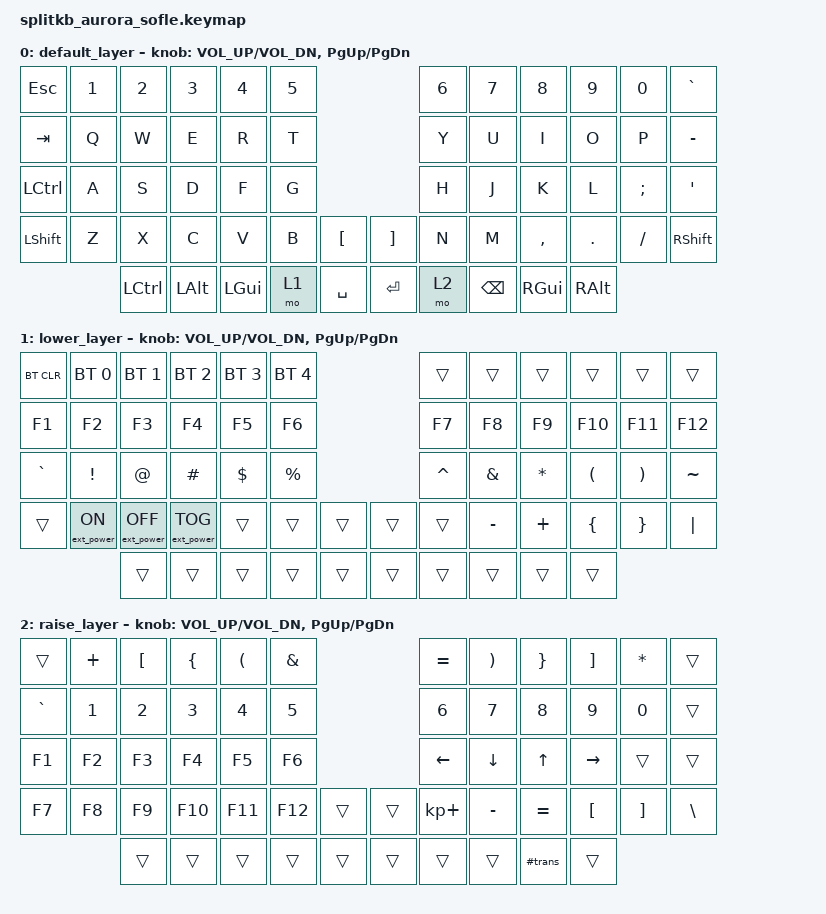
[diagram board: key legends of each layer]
/*
 * Copyright (c) 2023 The ZMK Contributors
 *
 * SPDX-License-Identifier: MIT
 */

#include <behaviors.dtsi>
#include <dt-bindings/zmk/keys.h>
#include <dt-bindings/zmk/bt.h>
#include <dt-bindings/zmk/ext_power.h>

/* Uncomment this block if using RGB
&led_strip {
    chain-length = <6>;
    // chain-length = <35>; // Uncomment if using both per-key and underglow LEDs
    // chain-length = <29>; // Uncomment if using only per-key LEDs.
};
 */

/ {
    behaviors {
        plusOne: plusOne {
            compatible = "zmk,behavior-mod-morph";
            #binding-cells= <0>;
            bindings = <&kp PLUS>, <&kp N1>;
            mods = <(MOD_LSFT|MOD_RSFT)>;
            keep-mods = <(MOD_RSFT)>;
        };
        leftBracketTwo: leftBracketTwo {
            compatible = "zmk,behavior-mod-morph";
            #binding-cells= <0>;
            bindings = <&kp LBKT>, <&kp N2>;
            mods = <(MOD_LSFT|MOD_RSFT)>;
            keep-mods = <(MOD_RSFT)>;
        };
        leftBraceThree: leftBraceThree {
            compatible = "zmk,behavior-mod-morph";
            #binding-cells= <0>;
            bindings = <&kp LBRC>, <&kp N3>;
            mods = <(MOD_LSFT|MOD_RSFT)>;
            keep-mods = <(MOD_RSFT)>;
        }; 
        leftParenFour: leftParenFour {
            compatible = "zmk,behavior-mod-morph";
            #binding-cells= <0>;
            bindings = <&kp LPAR>, <&kp N4>;
            mods = <(MOD_LSFT|MOD_RSFT)>;
            keep-mods = <(MOD_RSFT)>;
        };
        ampFive: ampFive {
            compatible = "zmk,behavior-mod-morph";
            #binding-cells= <0>;
            bindings = <&kp AMPS>, <&kp N5>;
            mods = <(MOD_LSFT|MOD_RSFT)>;
            keep-mods = <(MOD_RSFT)>;
        };
        equalSix: equalSix {
            compatible = "zmk,behavior-mod-morph";
            #binding-cells= <0>;
            bindings = <&kp EQUAL>, <&kp N6>;
            mods = <(MOD_LSFT|MOD_RSFT)>;
            keep-mods = <(MOD_RSFT)>;
        };
        rightParenSeven: rightParenSeven {
            compatible = "zmk,behavior-mod-morph";
            #binding-cells= <0>;
            bindings = <&kp RPAR>, <&kp N7>;
            mods = <(MOD_LSFT|MOD_RSFT)>;
            keep-mods = <(MOD_RSFT)>;
        };
        rightBraceEight: rightBraceEight {
            compatible = "zmk,behavior-mod-morph";
            #binding-cells= <0>;
            bindings = <&kp RBRC>, <&kp N8>;
            mods = <(MOD_LSFT|MOD_RSFT)>;
            keep-mods = <(MOD_RSFT)>;
        };
        rightBracketNine: rightBracketNine {
            compatible = "zmk,behavior-mod-morph";
            #binding-cells= <0>;
            bindings = <&kp RBKT>, <&kp N9>;
            mods = <(MOD_LSFT|MOD_RSFT)>;
            keep-mods = <(MOD_RSFT)>;
        };
        asteriskZero: asteriskZero {
            compatible = "zmk,behavior-mod-morph";
            #binding-cells= <0>;
            bindings = <&kp STAR>, <&kp N0>;
            mods = <(MOD_LSFT|MOD_RSFT)>;
            keep-mods = <(MOD_RSFT)>;
        };
    };
    keymap {
        compatible = "zmk,keymap";

        default_layer {
// ------------------------------------------------------------------------------------------------------------
// |  ESC  |  1  |  2  |  3   |  4   |  5   |                   |  6   |  7    |  8    |  9   |   0   |   `   |
// |  TAB  |  Q  |  W  |  E   |  R   |  T   |                   |  Y   |  U    |  I    |  O   |   P   |   -   |
// |  CTRL |  A  |  S  |  D   |  F   |  G   |                   |  H   |  J    |  K    |  L   |   ;   |   '   |
// | SHIFT |  Z  |  X  |  C   |  V   |  B   |   "["  |  |  "]"  |  N   |  M    |  ,    |  .   |   /   | SHIFT |
//               |CTRL | ALT  | GUI  | LOWER|  SPACE |  | ENTER | RAISE| BSPC  | GUI   | RALT |
            bindings = <
&kp ESC   &kp N1 &kp N2    &kp N3   &kp N4   &kp N5                     &kp N6 &kp N7   &kp N8    &kp N9   &kp N0   &kp GRAVE
&kp TAB   &kp Q  &kp W     &kp E    &kp R    &kp T                      &kp Y  &kp U    &kp I     &kp O    &kp P    &kp MINUS
&kp LCTRL &kp A  &kp S     &kp D    &kp F    &kp G                      &kp H  &kp J    &kp K     &kp L    &kp SEMI &kp SQT
&kp LSHFT &kp Z  &kp X     &kp C    &kp V    &kp B  &kp LBKT   &kp RBKT &kp N  &kp M    &kp COMMA &kp DOT  &kp FSLH &kp RSHFT
                 &kp LCTRL &kp LALT &kp LGUI &mo 1  &kp SPACE  &kp RET  &mo 2  &kp BSPC &kp RGUI  &kp RALT
            >;

            sensor-bindings = <&inc_dec_kp C_VOL_UP C_VOL_DN &inc_dec_kp PG_UP PG_DN>;
        };

        lower_layer {
// ------------------------------------------------------------------------------------------------------------
// | BTCLR | BT1 | BT2 |  BT3 |  BT4 |  BT5 |                   |      |       |       |      |       |       |
// |  F1   |  F2 |  F3 |  F4  |  F5  |  F6  |                   |  F7  |  F8   |  F9   |  F10 |  F11  |  F12  |
// |   `   |  !  |  @  |  #   |  $   |  %   |                   |  ^   |  &    |  *    |  (   |   )   |   ~   |
// |       |     |     |      |      |      |        |  |       |      |  _    |  +    |  {   |   }   |  "|"  |
//               |     |      |      |      |        |  |       |      |       |       |      |
            bindings = <
&bt BT_CLR &bt BT_SEL 0     &bt BT_SEL 1      &bt BT_SEL 2      &bt BT_SEL 3 &bt BT_SEL 4                 &trans    &trans    &trans    &trans    &trans    &trans
&kp F1     &kp F2           &kp F3            &kp F4            &kp F5       &kp F6                       &kp F7    &kp F8    &kp F9    &kp F10   &kp F11   &kp F12
&kp GRAVE  &kp EXCL         &kp AT            &kp HASH          &kp DOLLAR   &kp PRCNT                    &kp CARET &kp AMPS  &kp STAR  &kp LPAR  &kp RPAR  &kp TILDE
&trans     &ext_power EP_ON &ext_power EP_OFF &ext_power EP_TOG &trans       &trans    &trans   &trans    &trans    &kp MINUS &kp PLUS  &kp LBRC  &kp RBRC  &kp PIPE
                            &trans            &trans            &trans       &trans    &trans   &trans    &trans    &trans    &trans    &trans
            >;

            sensor-bindings = <&inc_dec_kp C_VOL_UP C_VOL_DN &inc_dec_kp PG_UP PG_DN>;
        };

        raise_layer {
// ------------------------------------------------------------------------------------------------------------
// |       |  +  |  [  |  {   |  (   |  &   |                   |  =   |   )   |   }   |  ]   |   *   |       |
// |   `   |  1  |  2  |  3   |  4   |  5   |                   |  6   |   7   |   8   |  9   |   0   |       |
// |   F1  |  F2 |  F3 |  F4  |  F5  |  F6  |                   |  <-  |   v   |   ^   |  ->  |       |       |
// |   F7  |  F8 |  F9 |  F10 |  F11 |  F12 |        |  |       |  +   |   -   |   =   |  [   |   ]   |   \   |
//               |     |      |      |      |        |  |       |      |       |       |      |
            bindings = <
&trans    &kp PLUS &kp LBKT &kp LBRC  &kp LPAR  &kp AMPS                     &kp EQUAL      &kp RPAR    &kp RBRC    &kp RBKT   &kp ASTRK    &trans
&kp GRAVE &kp N1   &kp N2   &kp N3    &kp N4    &kp N5                       &kp N6         &kp N7      &kp N8      &kp N9     &kp N0       &trans
&kp F1    &kp F2   &kp F3   &kp F4    &kp F5    &kp F6                       &kp LEFT       &kp DOWN    &kp UP      &kp RIGHT  &trans       &trans
&kp F7    &kp F8   &kp F9   &kp F10   &kp F11   &kp F12   &trans   &trans    &kp KP_PLUS    &kp MINUS   &kp EQUAL   &kp LBKT   &kp RBKT     &kp BSLH
                   &trans   &trans    &trans    &trans    &trans   &trans    &trans         &trans      &#trans      &trans
            >;

            sensor-bindings = <&inc_dec_kp C_VOL_UP C_VOL_DN &inc_dec_kp PG_UP PG_DN>;
        };
    };
};
